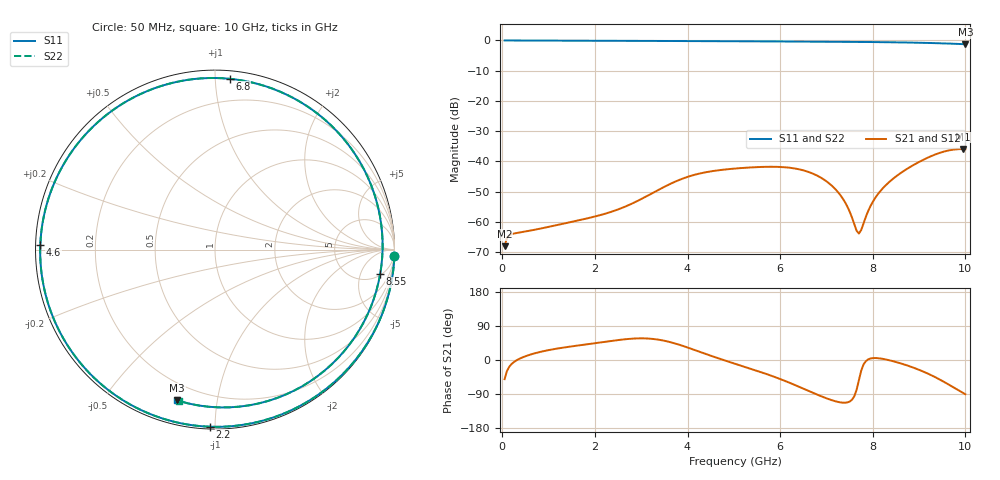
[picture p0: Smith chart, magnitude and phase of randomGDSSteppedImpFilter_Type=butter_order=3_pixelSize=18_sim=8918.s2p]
! freq	dB(S11)	phase(S11)	dB(S12)	phase(S12)
!  dB(S21)	phase(S21)	dB(S22)	phase(S22)
!S-par simulation data
#  GHz  S  DB  R 50
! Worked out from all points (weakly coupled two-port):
!   200 points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, 50 MHz to 10 GHz, reference 50 ohm
!   highest |S21| = -35.90 dB at 9.95 GHz (marker M1); lowest = -68.0 dB at 50 MHz (marker M2)
!   lowest |S11| = -1.2 dB at 10 GHz (marker M3), VSWR 13.99, Z = 5.73 - j38.7 ohm
!   |S11| at or under -10 dB: nowhere
!   |S22| runs from -1.2 to 0.0 dB; largest |S21 - S12| = 0
!   S11 on the Smith chart (normalised r, x): 50 MHz: 0, -52; 2.2 GHz: 0.01, -0.97; 4.6 GHz: 0.01, +0.01; 6.8 GHz: 0.05, +1.09; 8.55 GHz: 5, -11; 10 GHz: 0.11, -0.77
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0.05  -0.00 -2.2  -68.00 -50.5  -68.00 -50.5  -0.00 -2.2
0.1  -0.00 -4.4  -65.22 -29.3  -65.22 -29.3  -0.00 -4.4
0.2  -0.00 -8.8  -64.05 -10.7  -64.05 -10.7  -0.00 -8.7
1.05  -0.05 -45.2  -61.45 27.3  -61.45 27.3  -0.05 -45.2
1.75  -0.09 -73.9  -59.10 40.1  -59.10 40.1  -0.09 -73.9
2.2  -0.11 -91.7  -57.36 47.7  -57.36 47.7  -0.11 -91.7
3.4  -0.16 -136.9  -49.17 53.1  -49.17 53.1  -0.16 -136.9
4  -0.20 -159.1  -45.10 33.0  -45.10 33.0  -0.20 -159.0
4.6  -0.23 178.5  -43.05 7.2  -43.05 7.2  -0.23 178.5
5.05  -0.26 161.1  -42.31 -10.8  -42.31 -10.8  -0.26 161.2
6  -0.33 121.9  -41.82 -50.2  -41.82 -50.2  -0.33 122.0
6.7  -0.39 89.9  -43.98 -86.1  -43.98 -86.1  -0.39 90.0
6.8  -0.40 85.0  -44.68 -91.3  -44.68 -91.3  -0.40 85.2
7.3  -0.44 60.1  -51.12 -111.8  -51.12 -111.8  -0.44 60.3
7.7  -0.49 39.0  -63.82 -53.2  -63.82 -53.2  -0.49 39.3
8  -0.53 22.7  -53.36 5.0  -53.36 5.0  -0.53 23.0
8.35  -0.59 3.1  -46.85 -0.4  -46.85 -0.4  -0.58 3.4
8.55  -0.63 -8.4  -44.40 -7.0  -44.40 -7.0  -0.63 -8.1
8.95  -0.74 -32.2  -40.57 -23.5  -40.57 -23.5  -0.73 -31.8
9.35  -0.88 -57.5  -37.69 -45.4  -37.69 -45.4  -0.88 -57.0
9.95  -1.21 -100.2  -35.90 -87.0  -35.90 -87.0  -1.21 -99.6
10  -1.24 -104.1  -35.92 -90.4  -35.92 -90.4  -1.24 -103.5
